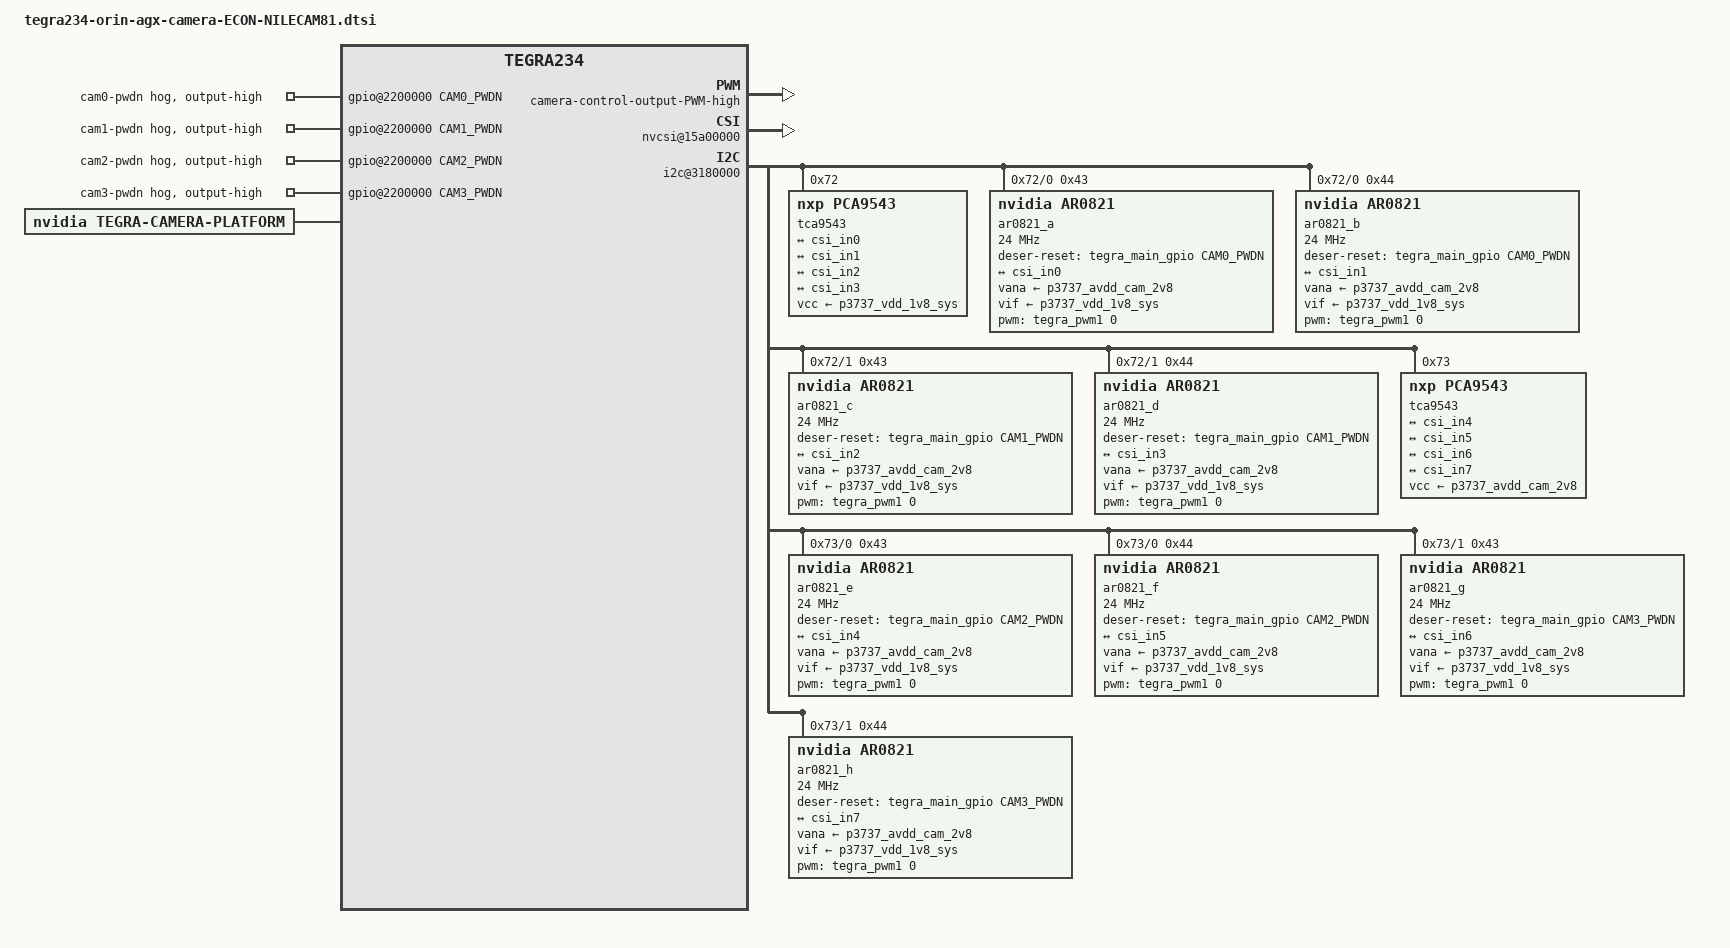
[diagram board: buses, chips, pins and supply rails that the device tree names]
/*
 * Copyright (c) 2023, e-con Systems.  All rights reserved.
 *
 * This program is free software; you can redistribute it and/or modify it
 * under the terms and conditions of the GNU General Public License,
 * version 2, as published by the Free Software Foundation.
 *
 * This program is distributed in the hope it will be useful, but WITHOUT
 * ANY WARRANTY; without even the implied warranty of MERCHANTABILITY or
 * FITNESS FOR A PARTICULAR PURPOSE.  See the GNU General Public License for
 * more details.
 *
 * You should have received a copy of the GNU General Public License
 * along with this program.  If not, see <http://www.gnu.org/licenses/>.
 */
#include "dt-bindings/clock/tegra234-clock.h"



#define CAM0_PWDN	TEGRA234_MAIN_GPIO(H, 6)
#define CAM1_PWDN	TEGRA234_MAIN_GPIO(AC, 0)
#define CAM2_PWDN	TEGRA234_MAIN_GPIO(H, 3)
#define CAM3_PWDN	TEGRA234_MAIN_GPIO(AC, 1)
#define CAM_PWM		TEGRA234_MAIN_GPIO(M, 7)
#define CAM_I2C_MUX 	TEGRA234_AON_GPIO(CC, 3)
#define CAMERA_I2C_MUX_BUS(x) (0x1E + x)
#define CAM_LANES 2
#define CAM_LANES_STRING "2"


/ {
		gpio@2200000 {
	
		camera-control-output-CAM0-high {
                        status = "okay";
                        gpio-hog;
                        gpios = <CAM0_PWDN 0>;
                        output-high;
                        label = "cam0-pwdn";
                };
		camera-control-output-CAM1-high {
                        status = "okay";
                        gpio-hog;
                        gpios = <CAM1_PWDN 0>;
                        output-high;
                        label = "cam1-pwdn";
                };
                camera-control-output-CAM2-high {
                        status = "okay";
                        gpio-hog;
                        gpios = <CAM2_PWDN 0>;
                        output-high;
                        label = "cam2-pwdn";
                };
                camera-control-output-CAM3-high {
                        status = "okay";
                        gpio-hog;
                        gpios = <CAM3_PWDN 0>;
                        output-high;
                        label = "cam3-pwdn";
                };
                camera-control-output-PWM-high {
                        status = "okay";
                        gpio-hog;
                        gpios = <CAM_PWM 0>;
                        output-high;
                        label = "cam-pwm";
                };
	};
	
	tegra-capture-vi {
        	status = "okay";
        	num-channels = <8>;
        	ports {
		    #address-cells = <1>;
		    #size-cells = <0>;
		    status = "okay";
        	    port@0 {
			reg = <0>;
                	status = "okay";
                	vi_in0: endpoint {
			    vc-id = <1>;
                	    port-index = <0>;
                	    status = "okay";
                	    bus-width = <CAM_LANES>;
			    remote-endpoint = <&csi_out0>;
                	};
            	};
            	port@1 {
                	status = "okay";
			reg = <1>;
                	vi_in1: endpoint {
			    vc-id = <0>;
                	    port-index = <0>;
                	    status = "okay";
                	    bus-width = <CAM_LANES>;
			    remote-endpoint = <&csi_out1>;
                	};
            	};
	    port@2 {
		status = "okay";
		reg = <2>;
		vi_in2: endpoint {
			vc-id = <1>;
			port-index = <2>;
			bus-width = <CAM_LANES>;
			remote-endpoint = <&csi_out2>;
			status = "okay";
		};
	    };
	    port@3{
		status = "okay";
		reg = <3>;
		vi_in3: endpoint {
			vc-id = <0>;
			port-index = <2>;
			bus-width = <CAM_LANES>;
			remote-endpoint = <&csi_out3>;
			status = "okay";
		};
	    };
	    port@4 {
		status = "okay";
		reg = <4>;
		vi_in4: endpoint {
			vc-id = <1>;
			port-index = <4>;
			bus-width = <CAM_LANES>;
			remote-endpoint = <&csi_out4>;
			status = "okay";
		};
	    };
	    port@5 {
		status = "okay";
		reg = <5>;
		vi_in5: endpoint {
			vc-id = <0>;
			port-index = <4>;
			bus-width = <CAM_LANES>;
			remote-endpoint = <&csi_out5>;
			status = "okay";
		};
	    };
            port@6 {
                status = "okay";
		reg = <6>;
                vi_in6: endpoint {
                    port-index = <5>;
                    status = "okay";
                    bus-width = <CAM_LANES>;
		    vc-id = <1>;
		    remote-endpoint = <&csi_out6>;
                };
            };
            port@7 {
                status = "okay";
		reg = <7>;
                vi_in7: endpoint {
                    port-index = <5>;
                    status = "okay";
                    bus-width = <CAM_LANES>;
		    vc-id = <0>;
		    remote-endpoint = <&csi_out7>;
                };
            };
        };
    };
host1x@13e00000 {
        nvcsi@15a00000 {
	    num-channels = <8>;
	    #address-cells = <1>;
	    #size-cells = <0>;
            status = "okay";
            channel@0 {
                status = "okay";
		reg = <0>;
                ports {
		    #address-cells = <1>;
		    #size-cells = <0>;
                    port@0 {
                        status = "okay";
			reg = <0>;
                        csi_in0: endpoint@0 {
                            status = "okay";
                            port-index = <0>;
			    bus-width = <CAM_LANES>;
                            remote-endpoint = <&cam_out0>;
                        };
                    };
                    port@1 {
                        status = "okay";
			reg = <1>;
                        csi_out0: endpoint@1 {
                            status = "okay";
			    remote-endpoint = <&vi_in0>;
                        };
                    };
                };
            };
            channel@1 {
                status = "okay";
		reg = <1>;
                ports {
		    #address-cells = <1>;
		    #size-cells = <0>;
                    
		    port@0 {
			reg = <0>;
                        status = "okay";
                        csi_in1: endpoint@2 {
                            status = "okay";
			    port-index = <0>;
                            bus-width = <CAM_LANES>;
                            remote-endpoint = <&cam_out1>;
                        };
                    };
                    port@1 {
                        status = "okay";
			reg = <1>;
                        csi_out1: endpoint@3 {
                            status = "okay";
			    remote-endpoint = <&vi_in1>;
                        };
                    };
                };
            };
	    channel@2 {
                status = "okay";
		reg = <2>;
                ports {
		    #address-cells = <1>;
		    #size-cells = <0>;
                    port@0 {
                        status = "okay";
			reg = <0>;
                        csi_in2: endpoint@4 {
                            status = "okay";
                            port-index = <2>;
			    bus-width = <CAM_LANES>;
                            remote-endpoint = <&cam_out2>;
                        };
                    };
                    port@1 {
                        status = "okay";
			reg = <1>;
                        csi_out2: endpoint@5 {
                            status = "okay";
			    remote-endpoint = <&vi_in2>;
                        };
                    };
                };
            };
            channel@3 {
                status = "okay";
		reg = <3>;
                ports {
		    #address-cells = <1>;
		    #size-cells = <0>;
                    
		    port@0 {
			reg = <0>;
                        status = "okay";
                        csi_in3: endpoint@6 {
                            status = "okay";
			    port-index = <2>;
                            bus-width = <CAM_LANES>;
                            remote-endpoint = <&cam_out3>;
                        };
                    };
                    port@1 {
                        status = "okay";
			reg = <1>;
                        csi_out3: endpoint@7 {
                            status = "okay";
			    remote-endpoint = <&vi_in3>;
                        };
                    };
                };
            };
	    channel@4 {
                status = "okay";
		reg = <4>;
                ports {
		    #address-cells = <1>;
		    #size-cells = <0>;
                    port@0 {
                        status = "okay";
			reg = <0>;
                        csi_in4: endpoint@8 {
                            status = "okay";
                            port-index = <4>;
			    bus-width = <CAM_LANES>;
                            remote-endpoint = <&cam_out4>;
                        };
                    };
                    port@1 {
                        status = "okay";
			reg = <1>;
                        csi_out4: endpoint@9 {
                            status = "okay";
			    remote-endpoint = <&vi_in4>;
                        };
                    };
                };
            };
            channel@5 {
                status = "okay";
		reg = <5>;
                ports {
		    #address-cells = <1>;
		    #size-cells = <0>;
                    
		    port@0 {
			reg = <0>;
                        status = "okay";
                        csi_in5: endpoint@10 {
                            status = "okay";
			    port-index = <4>;
                            bus-width = <CAM_LANES>;
                            remote-endpoint = <&cam_out5>;
                        };
                    };
                    port@1 {
                        status = "okay";
			reg = <1>;
                        csi_out5: endpoint@11 {
                            status = "okay";
			    remote-endpoint = <&vi_in5>;
                        };
                    };
                };
            };

            channel@6 {
                status = "okay";
		reg = <6>;
                ports {
		    #address-cells = <1>;
		    #size-cells = <0>;
                    port@0 {
			reg = <0>;
                        status = "okay";
                        csi_in6: endpoint@12 {
                            status = "okay";
                            bus-width = <CAM_LANES>;
			    port-index = <6>;
			    remote-endpoint = <&cam_out6>;
                        };
                    };
                    port@1 {
                        status = "okay";
                        reg = <1>;
			csi_out6: endpoint@13 {
                            status = "okay";
			    remote-endpoint = <&vi_in6>;
                        };
                    };
                };
            };

            channel@7 {
                status = "okay";
		reg = <7>;
                ports {
		    #address-cells = <1>;
		    #size-cells = <0>;
                    port@0 {
			reg = <0>;
                        status = "okay";
                        csi_in7: endpoint@14 {
                            status = "okay";
                            bus-width = <CAM_LANES>;
			    port-index = <6>;
			    remote-endpoint = <&cam_out7>;
                        };
                    };
                    port@1 {
                        status = "okay";
			reg = <1>;
                        csi_out7: endpoint@15 {
                            status = "okay";
			    remote-endpoint = <&vi_in7>;
                        };
                    };
                };
            };
        };
    };

    i2c@3180000 {
	status = "okay";
	#address-cells = <1>;
	#size-cells = <0>;
        tca9543@72 {
	    status = "okay";
	    compatible = "nxp,pca9543";
	    reg = <0x72>;
	    #address-cells = <1>;
	    #size-cells = <0>;
	    vcc-supply = <&p3737_vdd_1v8_sys>;
	    skip_mux_detect;
	    force_bus_start = <0x1e>;
            i2c@0 {
                status = "okay";
		reg = <0>;
		i2c-mux,deselect-on-exit;
		#address-cells = <1>;
		#size-cells = <0>;
		ar0821_a@43 {
			status = "okay";
			compatible = "nvidia,ar0821";
			reg = <0x43>;
			sensor_model = "ar0821";
			avdd-reg = "vana";
			iovdd-reg = "vif";
			clocks = <&bpmp_clks TEGRA234_CLK_EXTPERIPH1>,<&bpmp_clks TEGRA234_CLK_EXTPERIPH1>;
			clock-names = "extperiph1","pllp_grtba";
			clock-frequency = <24000000>;
			default-trigger = "internal";
			vana-supply = <&p3737_avdd_cam_2v8>;
			vif-supply = <&p3737_vdd_1v8_sys>;
			devnode = "video0";
			deser-reset-gpio = <&tegra_main_gpio CAM0_PWDN GPIO_ACTIVE_HIGH>;	
			use_sensor_mode_id = "false";
			camera_mipi_lanes = <2>;
			camera-mipi-clk = <1200>;
			sio-port = "A";
			#pwm-cells = <1>;
			pwms = <&tegra_pwm1 0 33898305>;

#define LOCAL_VC_ID "1"
#define TEGRA_SINTERFACE "serial_a"
#include "nilecam81_cuoagx_mode.dtsi"


			ports {
				#address-cells = <1>;
				#size-cells = <0>;
				
				port@0 {
					reg = <0>;
					cam_out0: endpoint {
						status = "okay";
						vc-id = <1>;
						port-index = <0>;
						bus-width = <CAM_LANES>;
						remote-endpoint = <&csi_in0>;
					};
				};
			};	
		};     
		ar0821_b@44 {
			status = "okay";
			compatible = "nvidia,ar0821";
			reg = <0x44>;
			sensor_model = "ar0821";
			avdd-reg = "vana";
			iovdd-reg = "vif";
			clocks = <&bpmp_clks TEGRA234_CLK_EXTPERIPH1>,<&bpmp_clks TEGRA234_CLK_EXTPERIPH1>;
			clock-names = "extperiph1","pllp_grtba";

			clock-frequency = <24000000>;
						vana-supply = <&p3737_avdd_cam_2v8>;
			vif-supply = <&p3737_vdd_1v8_sys>;
			devnode = "video1";
			deser-reset-gpio = <&tegra_main_gpio CAM0_PWDN GPIO_ACTIVE_HIGH>;
			use_sensor_mode_id = "false";
			camera_mipi_lanes = <2>;
			camera-mipi-clk = <1200>;
			sio-port = "B";
			#pwm-cells = <1>;
			pwms = <&tegra_pwm1 0 33898305>;


#undef TEGRA_SINTERFACE
#define TEGRA_SINTERFACE "serial_b"
#undef LOCAL_VC_ID
#define LOCAL_VC_ID "0"
#include "nilecam81_cuoagx_mode.dtsi"

			ports {
				#address-cells = <1>;
				#size-cells = <0>;
				port@0 {
					reg = <0>;
					cam_out1: endpoint {
						vc-id = <0>;
						port-index = <0>;
						bus-width = <CAM_LANES>;
						remote-endpoint = <&csi_in1>;
					};
				};
			};	
		};           
            };

	    i2c@1 {
		status = "okay";
		reg = <1>;
		i2c-mux,deselect-on-exit;
		#address-cells = <1>;
		#size-cells = <0>;
		ar0821_c@43 {
			status = "okay";
			compatible = "nvidia,ar0821";
			reg = <0x43>;
			sensor_model = "ar0821";
			avdd-reg = "vana";
			iovdd-reg = "vif";
			clocks = <&bpmp_clks TEGRA234_CLK_EXTPERIPH1>,<&bpmp_clks TEGRA234_CLK_EXTPERIPH1>;
			clock-names = "extperiph1","pllp_grtba";
			mclk = "extperiph1";
			clock-frequency = <24000000>;
						vana-supply = <&p3737_avdd_cam_2v8>;
			vif-supply = <&p3737_vdd_1v8_sys>;
			devnode = "video2";
			deser-reset-gpio = <&tegra_main_gpio CAM1_PWDN GPIO_ACTIVE_HIGH>;
			use_sensor_mode_id = "false";
			camera_mipi_lanes = <2>;
			camera-mipi-clk = <1200>;
			sio-port = "A";
			#pwm-cells = <1>;
			pwms = <&tegra_pwm1 0 33898305>;

#undef LOCAL_VC_ID 
#define LOCAL_VC_ID "1"
#undef TEGRA_SINTERFACE
#define TEGRA_SINTERFACE "serial_c"
#include "nilecam81_cuoagx_mode.dtsi"

			ports {
				#address-cells = <1>;
				#size-cells = <0>;
				port@0 {
					reg = <0>;
					cam_out2: endpoint {
						status = "okay";
						vc-id = <1>;
						port-index = <2>;
						bus-width = <CAM_LANES>;
						remote-endpoint = <&csi_in2>;
					};	
				};
			};
		};
		ar0821_d@44 {
			status = "okay";
			compatible = "nvidia,ar0821";
			reg = <0x44>;
			sensor_mode = "ar0821";
			avdd-reg = "vana";
			iovdd-reg = "vif";
			clocks = <&bpmp_clks TEGRA234_CLK_EXTPERIPH1>,<&bpmp_clks TEGRA234_CLK_EXTPERIPH1>;
			clock-names = "extperiph1","pllp_grtba";
			clock-frequency = <24000000>;
						vana-supply = <&p3737_avdd_cam_2v8>;
			vif-supply = <&p3737_vdd_1v8_sys>;
			devnode = "video3";
			deser-reset-gpio = <&tegra_main_gpio CAM1_PWDN GPIO_ACTIVE_HIGH>;
			use_sensor_mode_id = "false";
			camera_mipi_lanes = <2>;
			camera-mipi-clk = <1200>;
			sio-port = "B";
			#pwm-cells = <1>;
			pwms = <&tegra_pwm1 0 33898305>;

#undef LOCAL_VC_ID 
#define LOCAL_VC_ID "0"
#undef TEGRA_SINTERFACE
#define TEGRA_SINTERFACE "serial_d"
#include "nilecam81_cuoagx_mode.dtsi"
			ports {
				#address-cells = <1>;
				#size-cells = <0>;
				port@0 {
					reg = <0>;
					cam_out3: endpoint {
						status = "okay";
						vc-id = <0>;
						port-index = <2>;
						bus-width = <CAM_LANES>;
						remote-endpoint = <&csi_in3>;
						};
					};
				};
			};	 
		};
	};

	tca9543@73 {
		compatible = "nxp,pca9543";
		reg = <0x73>;
		#address-cells = <0x1>;
		#size-cells = <0x0>;
		skip_mux_detect = "yes";
		vcc-supply = <&p3737_avdd_cam_2v8>;
		force_bus_start = <0x20>;
		status = "okay";

            i2c@0 {
                status = "okay";
                reg = <0>;
		i2c-mux,deselect-on-exit;
		#address-cells = <1>;
		#size-cells = <0>;
		ar0821_e@43 {
			status = "okay";
			compatible = "nvidia,ar0821";
			reg = <0x43>;
			sensor_model = "ar0821";
			avdd-reg = "vana";
			iovdd-reg = "vif";
			clocks = <&bpmp_clks TEGRA234_CLK_EXTPERIPH1>,<&bpmp_clks TEGRA234_CLK_EXTPERIPH1>;
			clock-names = "extperiph1","pllp_grtba";
			clock-frequency = <24000000>;
			vana-supply = <&p3737_avdd_cam_2v8>;
			vif-supply = <&p3737_vdd_1v8_sys>;
			devnode = "video4";
			deser-reset-gpio = <&tegra_main_gpio CAM2_PWDN GPIO_ACTIVE_HIGH>;
			use_sensor_mode_id = "false";
			camera_mipi_lanes = <2>;
			camera-mipi-clk = <1200>;
			sio-port = "A";
			#pwm-cells = <1>;
			pwms = <&tegra_pwm1 0 33898305>;

#undef LOCAL_VC_ID 
#define LOCAL_VC_ID "1"
#undef TEGRA_SINTERFACE
#define TEGRA_SINTERFACE "serial_e"
#include "nilecam81_cuoagx_mode.dtsi"
			ports {
				#address-cells = <1>;
				#size-cells = <0>;
				port@0 {
					reg = <0>;
					cam_out4: endpoint {
						status = "okay";
						vc-id = <1>;
						port-index = <4>;
						bus-width = <CAM_LANES>;
						remote-endpoint = <&csi_in4>;
					};	
				};
			};
		};
		ar0821_f@44 {
			status = "okay";
			compatible = "nvidia,ar0821";
			reg = <0x44>;
			sensor_mode = "ar0821";
			avdd-reg = "vana";
			iovdd-reg = "vif";
			clocks = <&bpmp_clks TEGRA234_CLK_EXTPERIPH1>,<&bpmp_clks TEGRA234_CLK_EXTPERIPH1>;
			clock-names = "extperiph1","pllp_grtba";
			clock-frequency = <24000000>;
						vana-supply = <&p3737_avdd_cam_2v8>;
			vif-supply = <&p3737_vdd_1v8_sys>;
			devnode = "video5";
			deser-reset-gpio = <&tegra_main_gpio CAM2_PWDN GPIO_ACTIVE_HIGH>;
			use_sensor_mode_id = "false";
			camera_mipi_lanes = <2>;
			camera-mipi-clk = <1200>;
			sio-port = "B";
			#pwm-cells = <1>;
			pwms = <&tegra_pwm1 0 33898305>;

#undef LOCAL_VC_ID 
#define LOCAL_VC_ID "0"
#undef TEGRA_SINTERFACE
#define TEGRA_SINTERFACE "serial_f"
#include "nilecam81_cuoagx_mode.dtsi"
			ports {
				#address-cells = <1>;
				#size-cells = <0>;
				port@0 {
					reg = <0>;
					cam_out5: endpoint {
						status = "okay";
						vc-id = <0>;
						port-index = <4>;
						bus-width = <CAM_LANES>;
						remote-endpoint = <&csi_in5>;
					};
				};
			};
		};
            };
                
            i2c@1 {
                status = "okay";
		reg = <1>;
		i2c-mux,deselect-on-exit;
		#address-cells = <1>;
		#size-cells = <0>;
		ar0821_g@43 {
			status = "okay";
			compatible = "nvidia,ar0821";
			reg = <0x43>;
			sensor_model = "ar0821";
			avdd-reg = "vana";
			iovdd-reg = "vif";
			clocks = <&bpmp_clks TEGRA234_CLK_EXTPERIPH1>,<&bpmp_clks TEGRA234_CLK_EXTPERIPH1>;
			clock-names = "extperiph1","pllp_grtba";
			clock-frequency = <24000000>;
						vana-supply = <&p3737_avdd_cam_2v8>;
			vif-supply = <&p3737_vdd_1v8_sys>;
			devnode = "video6";
			deser-reset-gpio = <&tegra_main_gpio CAM3_PWDN GPIO_ACTIVE_HIGH>;
			use_sensor_mode_id = "false";
			camera_mipi_lanes = <2>;
			camera-mipi-clk = <1200>;
			sio-port = "A";
			#pwm-cells = <1>;
			pwms = <&tegra_pwm1 0 33898305>;

#undef LOCAL_VC_ID
#define LOCAL_VC_ID "1"
#undef TEGRA_SINTERFACE 
#define TEGRA_SINTERFACE "serial_f"
#include "nilecam81_cuoagx_mode.dtsi"


			ports {
				#address-cells = <1>;
				#size-cells = <0>;
				
				port@0 {
					reg = <0>;
					cam_out6: endpoint {
						status = "okay";
						vc-id = <1>;
						port-index = <6>;
						bus-width = <CAM_LANES>;
						remote-endpoint = <&csi_in6>;
					};
				};
			};	
		};     
		ar0821_h@44 {
			status = "okay";
			compatible = "nvidia,ar0821";
			reg = <0x44>;
			sensor_model = "ar0821";
			avdd-reg = "vana";
			iovdd-reg = "vif";
			clocks = <&bpmp_clks TEGRA234_CLK_EXTPERIPH1>,<&bpmp_clks TEGRA234_CLK_EXTPERIPH1>;
			clock-names = "extperiph1","pllp_grtba";
			clock-frequency = <24000000>;
						vana-supply = <&p3737_avdd_cam_2v8>;
			vif-supply = <&p3737_vdd_1v8_sys>;
			devnode = "video7";
			deser-reset-gpio = <&tegra_main_gpio CAM3_PWDN GPIO_ACTIVE_HIGH>;
			use_sensor_mode_id = "false";
			camera_mipi_lanes = <2>;
			camera-mipi-clk = <1200>;
			sio-port = "B";
			#pwm-cells = <1>;
			pwms = <&tegra_pwm1 0 33898305>;


#undef TEGRA_SINTERFACE
#define TEGRA_SINTERFACE "serial_g"
#undef LOCAL_VC_ID
#define LOCAL_VC_ID "0"
#include "nilecam81_cuoagx_mode.dtsi"

			ports {
				#address-cells = <1>;
				#size-cells = <0>;
				port@0 {
					reg = <0>;
					cam_out7: endpoint {
						vc-id = <0>;
						port-index = <6>;
						bus-width = <CAM_LANES>;
						remote-endpoint = <&csi_in7>;
					};
				};
			};	
		};
            };
        };
    };  
};

/{

    tegra-camera-platform {
        num_csi_lanes = <8>;
        max_lane_speed = <2500000>;
        min_bits_per_pixel = <10>;
        vi_peak_byte_per_pixel = <2>;
        vi_bw_margin_pct = <25>;
	//max_pixel_rate = <750000>;
        isp_peak_byte_per_pixel = <5>;
        isp_bw_margin_pct = <25>;
	compatible = "nvidia, tegra-camera-platform";
	status = "okay";
        
	modules {
            module0 {
                status = "okay";
		badge = "ar0821_a";
		orientation = "1";
		position = "bottomleft"; 
                 drivernode0 {
                    status = "okay";
                    pcl_id = "v4l2_sensor";
                    devname = "ar0821_a 30-0043";
                    proc-device-tree = "/proc/device-tree/i2c@3180000/tca9543@72/i2c@0/ar0821_a@43";
                };
            };
	    module1 {
                status = "okay";
		badge = "ar0821_b";
		orientation = "2";
		position = "rear2";
                drivernode0 {
                    status = "okay";
                    pcl_id = "v4l2_sensor";
                    devname = "ar0821_b 30-0044";
                    proc-device-tree = "/proc/device-tree/i2c@3180000/tca9543@72/i2c@0/ar0821_b@44";
                };
            };
            
	    module2 {
		status = "okay";
		badge = "ar0821_c";
		orientation = "1";
		position = "rear3";
		drivernode0 {
			status = "okay";
			pcl_id = "v4l2_sensor";
			devname = "ar0821_c 31-0043";
			proc-device-tree = "/proc/device-tree/i2c@3180000/tca9543@72/i2c@1/ar0821_c@43";
		};
	    };
	    module3 {
		status = "okay";
		badge = "ar0821_d";
		orientation = "1";
		position = "rear4";
		drivernode0 {
			status = "okay";
			pcl_id = "v4l2_sensor";
			devname = "ar0821_d 31-0044";
			proc-device-tree = "/proc/device-tree/i2c@3180000/tca9543@72/i2c@1/ar0821_d@44";
		};
	    };
            module4 {
                status = "okay";
		badge = "ar0821_e";
                drivernode0 {
                    status = "okay";
                    pcl_id = "v4l2_sensor";
                    devname = "ar0821_e 32-0043";
                    proc-device-tree = "/proc/device-tree/i2c@3180000/tca9543@73/i2c@0/ar0821_e@42";
                };
            };
            module5 {
                status = "okay";
		badge = "ar0821_f";
                drivernode0 {
                    status = "okay";
                    pcl_id = "v4l2_sensor";
                    devname = "ar0821_f 32-0044";
                    proc-device-tree = "/proc/device-tree/i2c@3180000/tca9543@73/i2c@0/ar0821_f@42";
                };
            };
		module6 {
                status = "okay";
		badge = "ar0821_g";
                drivernode0 {
                    status = "okay";
                    pcl_id = "v4l2_sensor";
                    devname = "ar0821_g 33-0043";
                    proc-device-tree = "/proc/device-tree/i2c@3180000/tca9543@73/i2c@1/ar0821_g@42";
                };
		module7 {
                status = "okay";
		badge = "ar0821_h";
                drivernode0 {
                    status = "okay";
                    pcl_id = "v4l2_sensor";
                    devname = "ar0821_h 33-0044";
                    proc-device-tree = "/proc/device-tree/i2c@3180000/tca9543@73/i2c@1/ar0821_h@42";
                };
            };
            };
        };
    };
};
